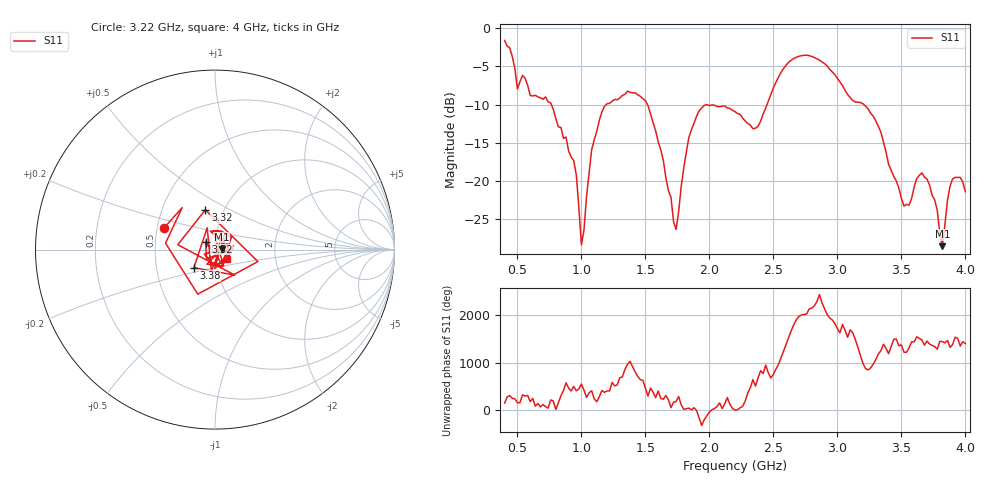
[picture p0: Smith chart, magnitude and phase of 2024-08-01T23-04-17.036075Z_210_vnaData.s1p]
!Created with skrf (http://scikit-rf.org).
# Hz S RI R 50.0
!freq ReS11 ImS11
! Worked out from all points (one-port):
!   181 points, 400 MHz to 4 GHz, reference 50 ohm
!   lowest |S11| = -28.5 dB at 3.82 GHz (marker M1), VSWR 1.08, Z = 53.9 + j0.395 ohm
!   |S11| at or under -10 dB: 1.517 GHz to 1.976 GHz (459.5 MHz wide, 26.3 % of centre); 1.982 GHz to 2.45 GHz (467.2 MHz wide, 21.1 % of centre); 3.208 GHz to end of sweep (the widest 3 of 4)
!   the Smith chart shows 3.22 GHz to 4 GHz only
!   S11 on the Smith chart (normalised r, x): 3.22 GHz: 0.54, +0.14; 3.32 GHz: 0.82, +0.38; 3.38 GHz: 0.77, -0.16; 3.52 GHz: 0.90, +0.08; 4 GHz: 1.13, -0.12
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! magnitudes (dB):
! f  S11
! 400 MHz  -1.6
! 500 MHz  -7.9
! 720 MHz  -9.0
! 860 MHz  -14.4
! 960 MHz  -19.1
! 1 GHz  -28.3
! 1.08 GHz  -15.9
! 1.14 GHz  -12.0
! 1.3 GHz  -9.1
! 1.52 GHz  -10.1
! 1.72 GHz  -25.3
! 1.76 GHz  -23.9
! 1.84 GHz  -14.3
! 1.92 GHz  -10.8
! 2.2 GHz  -10.9
! 2.38 GHz  -12.8
! 2.66 GHz  -3.9
! 2.9 GHz  -4.6
! 3.1 GHz  -9.0
! 3.22 GHz  -10.2
! 3.32 GHz  -12.8
! 3.38 GHz  -16.2
! 3.52 GHz  -23.2
! 3.56 GHz  -23.1
! 3.7 GHz  -19.7
! 3.82 GHz  -28.5
! 3.9 GHz  -19.7
! 4 GHz  -21.4
